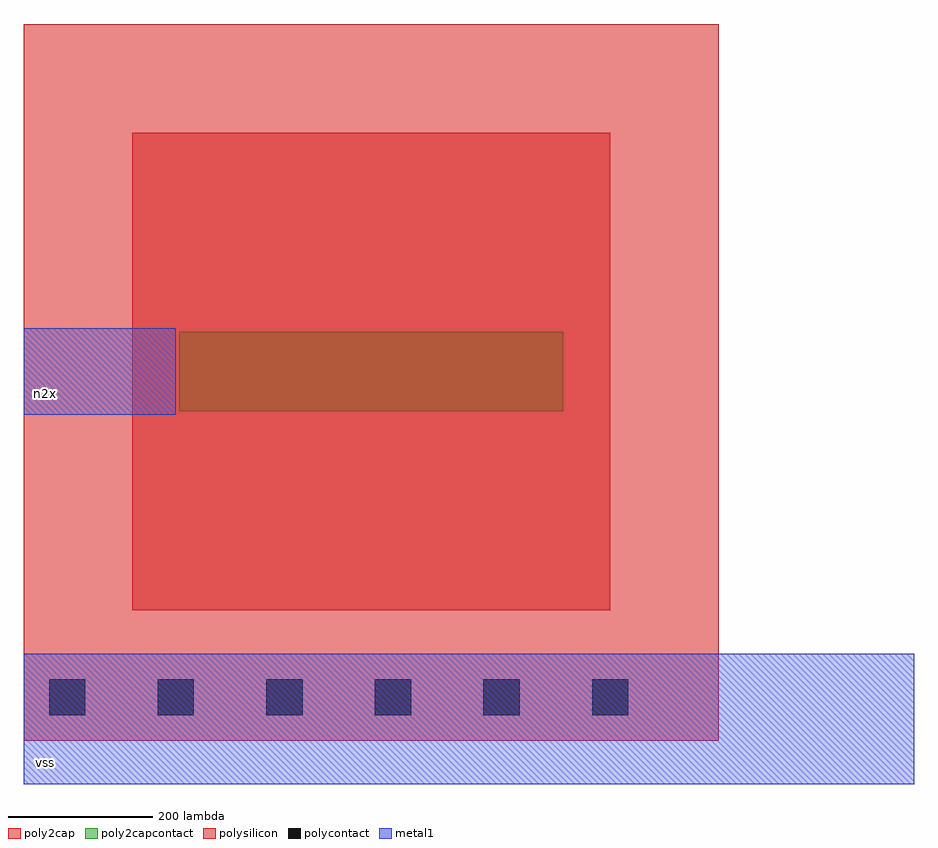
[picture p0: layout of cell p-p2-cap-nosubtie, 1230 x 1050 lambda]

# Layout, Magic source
magic
tech amic5n
<< poly2capcontact >>
rect 215 515 745 625
<< poly2cap >>
rect 150 240 810 900
<< polysilicon >>
rect 0 60 960 1050
<< polycontact >>
rect 35 95 85 145
<< polycontact >>
rect 185 95 235 145
<< polycontact >>
rect 335 95 385 145
<< polycontact >>
rect 485 95 535 145
<< polycontact >>
rect 635 95 685 145
<< polycontact >>
rect 785 95 835 145
<< metal1 >>
rect 0 510 210 630
rect 0 0 1230 180
<< labels >>
flabel metal1  30 30 30 30 2 FreeSans 400 0 0 0 vss
port 2 ne
flabel metal1 s 30 540 30 540 2 FreeSans 400 0 0 0 n2x
port 1 ne
<< end >>
